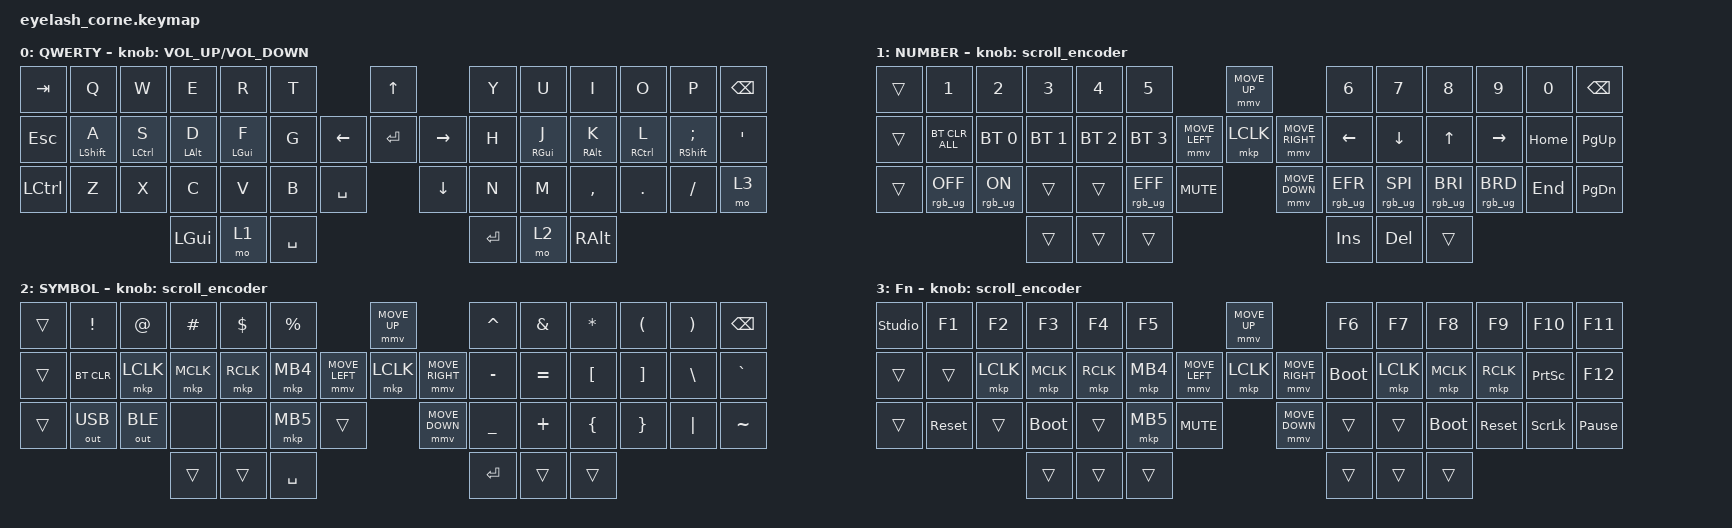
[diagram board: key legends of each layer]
#include <dt-bindings/zmk/mouse.h>
#include <input/processors.dtsi>
#include <behaviors.dtsi>
#include <dt-bindings/zmk/bt.h>
#include <dt-bindings/zmk/keys.h>
#include <dt-bindings/zmk/outputs.h>
#include <dt-bindings/zmk/pointing.h>
#include <dt-bindings/zmk/pointing.h>
#include <dt-bindings/zmk/pointing.h>
#include <dt-bindings/zmk/rgb.h>

/*

   &mmv_input_listener {
       input-processors = <&zip_xy_scaler 2 1>;
   };

   &msc_input_listener {
       input-processors = <&zip_xy_scaler 2 1>;
   };

 */

#define ZMK_MOUSE_DEFAULT_MOVE_VAL 1200  // 600
#define ZMK_MOUSE_DEFAULT_SCRL_VAL 20    // 10

/ {
    behaviors {
        td0: td0 {
            compatible = "zmk,behavior-tap-dance";
            display-name = "Shift/Caps Lock Tap Dance";
            #binding-cells = <0>;
            bindings = <&kp LEFT_SHIFT>, <&kp CAPS>;
        };

        hrm_l: hrm_l {
            compatible = "zmk,behavior-hold-tap";
            label = "HRM_L";
            bindings = <&kp>, <&kp>;

            #binding-cells = <2>;
            tapping-term-ms = <250>;
            quick-tap-ms = <150>;
            require-prior-idle-ms = <125>;
            flavor = "balanced";
            hold-trigger-key-positions = <23 24 25 26>;
            hold-trigger-on-release;
        };

        hrm_r: hrm_r {
            compatible = "zmk,behavior-hold-tap";
            label = "HRM_R";
            bindings = <&kp>, <&kp>;

            #binding-cells = <2>;
            tapping-term-ms = <250>;
            quick-tap-ms = <150>;
            require-prior-idle-ms = <125>;
            flavor = "balanced";
            hold-trigger-key-positions = <15 16 17 14>;
            hold-trigger-on-release;
        };
    };

    rgb_encoder: rgb_encoder {
        compatible = "zmk,behavior-sensor-rotate";
        #sensor-binding-cells = <0>;
        bindings = <&rgb_ug RGB_BRI>, <&rgb_ug RGB_BRD>;
    };

    scroll_encoder: scroll_encoder {
        compatible = "zmk,behavior-sensor-rotate";
        #sensor-binding-cells = <0>;
        bindings = <&msc SCRL_DOWN>, <&msc SCRL_UP>;

        tap-ms = <30>;
    };

    keymap {
        compatible = "zmk,keymap";

        default_layer {
            display-name = "QWERTY";
            bindings = <
&kp TAB     &kp Q            &kp W           &kp E          &kp R          &kp T                             &kp UP                &kp Y      &kp U          &kp I          &kp O           &kp P               &kp BSPC
&kp ESCAPE  &hrm_l LSHIFT A  &hrm_l LCTRL S  &hrm_l LALT D  &hrm_l LGUI F  &kp G                   &kp LEFT  &kp ENTER  &kp RIGHT  &kp H      &hrm_r RGUI J  &hrm_r RALT K  &hrm_r RCTRL L  &hrm_r RSHIFT SEMI  &kp SQT
&kp LCTRL   &kp Z            &kp X           &kp C          &kp V          &kp B      &kp SPACE              &kp DOWN              &kp N      &kp M          &kp COMMA      &kp DOT         &kp FSLH            &mo 3
                                             &kp LGUI       &mo 1          &kp SPACE                                               &kp ENTER  &mo 2          &kp RALT
            >;

            sensor-bindings = <&inc_dec_kp C_VOLUME_UP C_VOLUME_DOWN>;
        };

        lower_layer {
            display-name = "NUMBER";
            bindings = <
&trans  &kp N1           &kp N2          &kp N3        &kp N4        &kp N5                                         &mmv MOVE_UP                     &kp N6           &kp N7           &kp N8           &kp N9           &kp N0    &kp BSPC
&trans  &bt BT_CLR_ALL   &bt BT_SEL 0    &bt BT_SEL 1  &bt BT_SEL 2  &bt BT_SEL 3                   &mmv MOVE_LEFT  &mkp LCLK       &mmv MOVE_RIGHT  &kp LEFT         &kp DOWN         &kp UP           &kp RIGHT        &kp HOME  &kp PG_UP
&trans  &rgb_ug RGB_OFF  &rgb_ug RGB_ON  &trans        &trans        &rgb_ug RGB_EFF  &kp C_MUTE                    &mmv MOVE_DOWN                   &rgb_ug RGB_EFR  &rgb_ug RGB_SPI  &rgb_ug RGB_BRI  &rgb_ug RGB_BRD  &kp END   &kp PG_DN
                                         &trans        &trans        &trans                                                                          &kp INS          &kp DEL          &trans
            >;

            sensor-bindings = <&scroll_encoder>;
        };

        raise_layer {
            display-name = "SYMBOL";
            bindings = <
&trans  &kp EXCL      &kp AT        &kp HASH   &kp DLLR   &kp PRCNT                            &mmv MOVE_UP                     &kp CARET  &kp AMPS   &kp ASTRK  &kp LPAR  &kp RPAR  &kp BSPC
&trans  &bt BT_CLR    &mkp LCLK     &mkp MCLK  &mkp RCLK  &mkp MB4             &mmv MOVE_LEFT  &mkp LCLK       &mmv MOVE_RIGHT  &kp MINUS  &kp EQUAL  &kp LBKT   &kp RBKT  &kp BSLH  &kp GRAVE
&trans  &out OUT_USB  &out OUT_BLE  &none      &none      &mkp MB5   &trans                    &mmv MOVE_DOWN                   &kp UNDER  &kp PLUS   &kp LBRC   &kp RBRC  &kp PIPE  &kp TILDE
                                    &trans     &trans     &kp SPACE                                                             &kp RET    &trans     &trans
            >;

            sensor-bindings = <&scroll_encoder>;
        };

        layer_3 {
            display-name = "Fn";
            bindings = <
&studio_unlock  &kp F1      &kp F2     &kp F3       &kp F4     &kp F5                                  &mmv MOVE_UP                     &kp F6       &kp F7     &kp F8       &kp F9      &kp F10          &kp F11
&trans          &trans      &mkp LCLK  &mkp MCLK    &mkp RCLK  &mkp MB4                &mmv MOVE_LEFT  &mkp LCLK       &mmv MOVE_RIGHT  &bootloader  &mkp LCLK  &mkp MCLK    &mkp RCLK   &kp PRINTSCREEN  &kp F12
&trans          &sys_reset  &trans     &bootloader  &trans     &mkp MB5  &kp C_MUTE                    &mmv MOVE_DOWN                   &trans       &trans     &bootloader  &sys_reset  &kp SCROLLLOCK   &kp PAUSE_BREAK
                                       &trans       &trans     &trans                                                                   &trans       &trans     &trans
            >;

            sensor-bindings = <&scroll_encoder>;
        };
    };
};
